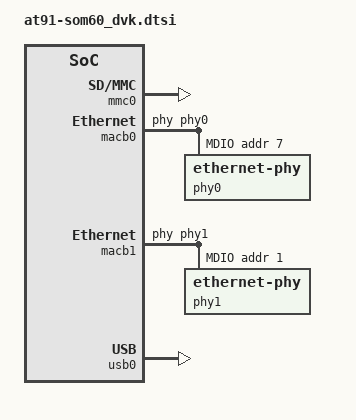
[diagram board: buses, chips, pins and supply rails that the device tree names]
// SPDX-License-Identifier: GPL-2.0
/*
 * at91-som60_dvk.dtsi - Device Tree file for the DVK SOM60 board
 *
 *  Copyright (C) 2018-2020 Laird Connectivity,
 *		  2018 Ben Whitten <ben.whitten@lairdconnect.com>
 *		  2018 Boris Krasnovskiy <boris.krasnovskiy@lairdconnect.com>
 */

/ {
	ahb {
		apb {
			pinctrl@fffff200 {
				board {
					pinctrl_mmc0_cd: mmc0_cd {
						u-boot,dm-pre-reloc;
						atmel,pins =
							<AT91_PIOE 31 AT91_PERIPH_GPIO AT91_PINCTRL_DEGLITCH>;
					};

					pinctrl_usba_vbus: usba_vbus {
						atmel,pins =
							<AT91_PIOC 14 AT91_PERIPH_GPIO AT91_PINCTRL_DEGLITCH>;
					};
				};
			};
		};
	};
};

&mmc0 {
	u-boot,dm-pre-reloc;
	pinctrl-names = "default";
	pinctrl-0 = <&pinctrl_mmc0_clk_cmd_dat0 &pinctrl_mmc0_dat1_3 &pinctrl_mmc0_cd>;

	status = "okay";

	slot@0 {
		reg = <0>;
		bus-width = <4>;
		cd-gpios = <&pioE 31 GPIO_ACTIVE_LOW>;
	};
};

&macb0 {
	status = "okay";

	phy-handle = <&phy0>;

	mdio {
		#address-cells = <1>;
		#size-cells = <0>;

		phy0: ethernet-phy@7 {
			reg = <7>;
			vsc8531,clk-out-frequency = <125000000>;
		};
	};
};

&macb1 {
	status = "okay";

	phy-handle = <&phy1>;

	mdio {
		#address-cells = <1>;
		#size-cells = <0>;

		phy1: ethernet-phy@1 {
			reg = <1>;
		};
	};
};

&usb0 {
	pinctrl-names = "default";
	pinctrl-0 = <&pinctrl_usba_vbus>;

	atmel,vbus-gpio = <&pioC 14 GPIO_ACTIVE_HIGH>;

	status = "okay";
};
